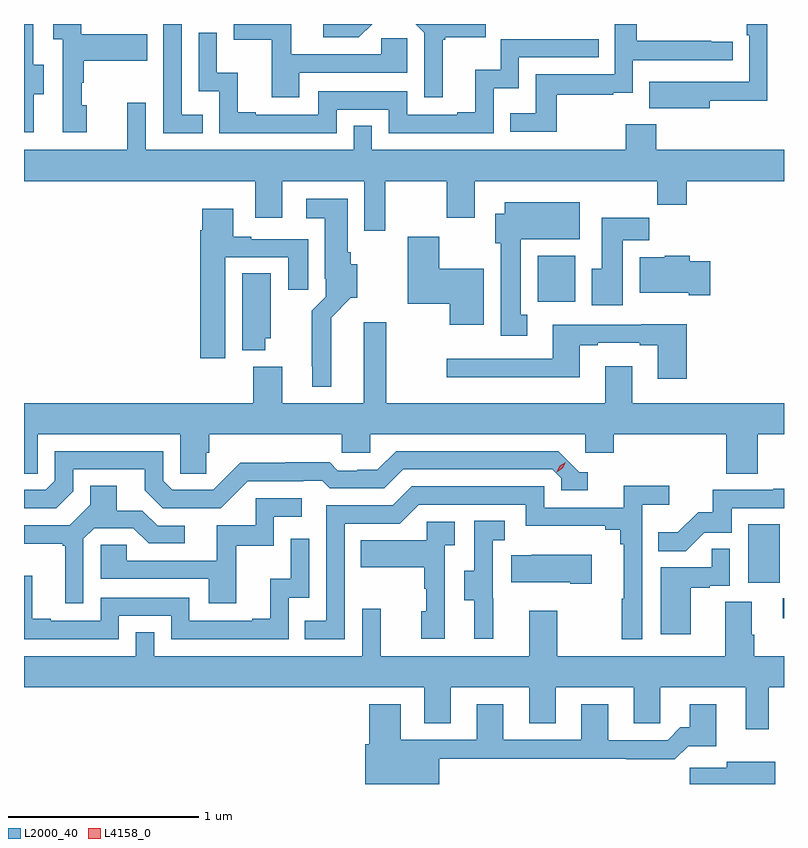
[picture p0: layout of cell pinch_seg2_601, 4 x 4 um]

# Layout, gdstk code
import gdstk
lib = gdstk.Library(unit=1e-6, precision=1e-09)
def R(c, l, rs):  # rectangles x0, y0, x1, y1
    for r in rs: c.add(gdstk.rectangle(r[:2], r[2:], *l))
def P(c, l, *ps):  # polygons
    for p in ps: c.add(gdstk.Polygon(p, *l))
L2000_40 = (2000, 40)
L4158_0 = (4158, 0)

pinch_seg2_601 = lib.new_cell('pinch_seg2_601')
R(pinch_seg2_601, L2000_40, [(1024.017,606.708,1024.023,606.813), (1023.836,606.894,1024,607.201), (1022.726,608.372,1022.923,608.614)])
P(pinch_seg2_601, L2000_40, [(1020.965,609.357),(1020.852,609.357),(1020.852,609.835),(1020.756,609.835),(1020.756,609.261),(1020.965,609.261)],
  [(1022.827,609.462),(1023.125,609.462),(1023.125,609.473),(1023.228,609.473),(1023.228,609.645),(1023.754,609.645),(1023.754,609.741),(1023.641,609.741),(1023.641,609.746),(1023.248,609.746),(1023.248,609.835),(1023.132,609.835),(1023.132,609.57),(1022.716,609.57),(1022.716,609.364),(1022.581,609.364),(1022.581,609.267),(1022.827,609.267)],
  [(1023.631,609.43),(1023.936,609.43),(1023.936,609.835),(1023.827,609.835),(1023.827,609.776),(1023.84,609.776),(1023.84,609.531),(1023.527,609.531),(1023.527,609.532),(1023.313,609.532),(1023.313,609.392),(1023.631,609.392)],
  [(1022.227,609.753),(1022.239,609.753),(1022.239,609.764),(1022.452,609.764),(1022.452,609.835),(1022.084,609.835),(1022.13,609.789),(1022.13,609.45),(1022.227,609.45)],
  [(1021.856,609.835),(1021.599,609.835),(1021.599,609.765),(1021.786,609.765)],
  [(1020.352,609.408),(1020.327,609.408),(1020.327,609.527),(1020.337,609.527),(1020.337,609.641),(1020.671,609.641),(1020.671,609.781),(1020.324,609.781),(1020.324,609.835),(1020.177,609.835),(1020.177,609.755),(1020.228,609.755),(1020.228,609.264),(1020.352,609.264)],
  [(1021.471,609.579),(1022.04,609.579),(1022.04,609.759),(1021.903,609.759),(1021.903,609.675),(1021.429,609.675),(1021.429,609.835),(1021.128,609.835),(1021.128,609.753),(1021.327,609.753),(1021.327,609.45),(1021.471,609.45)],
  [(1020.073,609.466),(1020.127,609.466),(1020.127,609.621),(1020.072,609.621),(1020.072,609.835),(1020.023,609.835),(1020.023,609.264),(1020.073,609.264)],
  [(1021.668,609.384),(1021.944,609.384),(1021.944,609.261),(1022.496,609.261),(1022.496,609.497),(1022.628,609.497),(1022.628,609.66),(1023.047,609.66),(1023.047,609.756),(1022.532,609.756),(1022.532,609.595),(1022.399,609.595),(1022.399,609.37),(1022.303,609.37),(1022.303,609.357),(1022.04,609.357),(1022.04,609.48),(1021.572,609.48),(1021.572,609.357),(1021.243,609.357),(1021.243,609.37),(1021.148,609.37),(1021.148,609.578),(1021.038,609.578),(1021.038,609.79),(1020.942,609.79),(1020.942,609.48),(1021.05,609.48),(1021.05,609.261),(1021.668,609.261)],
  [(1021.924,609.008),(1022.248,609.008),(1022.248,608.814),(1022.395,608.814),(1022.395,609.008),(1023.355,609.008),(1023.355,608.884),(1023.512,608.884),(1023.512,609.008),(1024.023,609.008),(1024.023,609.172),(1023.35,609.172),(1023.35,609.307),(1023.19,609.307),(1023.19,609.172),(1021.854,609.172),(1021.854,609.299),(1021.758,609.299),(1021.758,609.172),(1020.663,609.172),(1020.663,609.421),(1020.566,609.421),(1020.566,609.172),(1020.023,609.172),(1020.023,609.008),(1021.241,609.008),(1021.241,608.814),(1021.381,608.814),(1021.381,609.008),(1021.815,609.008),(1021.815,608.748),(1021.924,608.748)],
  [(1021.639,608.288),(1021.744,608.394),(1021.777,608.394),(1021.777,608.571),(1021.744,608.571),(1021.744,608.634),(1021.726,608.634),(1021.726,608.914),(1021.509,608.914),(1021.509,608.813),(1021.607,608.813),(1021.607,608.494),(1021.611,608.494),(1021.611,608.4),(1021.537,608.326),(1021.537,608.035),(1021.541,608.035),(1021.541,607.925),(1021.639,607.925)],
  [(1022.671,608.306),(1022.638,608.306),(1022.638,608.702),(1022.947,608.702),(1022.947,608.896),(1022.552,608.896),(1022.552,608.836),(1022.504,608.836),(1022.504,608.682),(1022.531,608.682),(1022.531,608.193),(1022.671,608.193)],
  [(1021.081,608.607),(1021.415,608.607),(1021.415,608.436),(1021.519,608.436),(1021.519,608.703),(1021.219,608.703),(1021.219,608.716),(1021.123,608.716),(1021.123,608.863),(1020.962,608.863),(1020.962,608.75),(1020.95,608.75),(1020.95,608.076),(1021.081,608.076)],
  [(1023.175,608.696),(1023.314,608.696),(1023.314,608.814),(1023.065,608.814),(1023.065,608.548),(1023.011,608.548),(1023.011,608.355),(1023.175,608.355)],
  [(1022.443,608.548),(1022.208,608.548),(1022.208,608.716),(1022.042,608.716),(1022.042,608.363),(1022.264,608.363),(1022.264,608.252),(1022.443,608.252)],
  [(1023.634,608.586),(1023.527,608.586),(1023.527,608.614),(1023.396,608.614),(1023.396,608.608),(1023.263,608.608),(1023.263,608.42),(1023.521,608.42),(1023.521,608.408),(1023.634,608.408)],
  [(1021.294,608.181),(1021.321,608.181),(1021.321,608.522),(1021.172,608.522),(1021.172,608.117),(1021.294,608.117)],
  [(1020.096,607.676),(1020.846,607.676),(1020.846,607.468),(1020.983,607.468),(1020.983,607.578),(1020.998,607.578),(1020.998,607.676),(1021.695,607.676),(1021.695,607.578),(1021.845,607.578),(1021.845,607.676),(1022.976,607.676),(1022.976,607.578),(1023.128,607.578),(1023.128,607.676),(1023.719,607.676),(1023.719,607.468),(1023.884,607.468),(1023.884,607.676),(1024.023,607.676),(1024.023,607.84),(1023.223,607.84),(1023.223,608.035),(1023.083,608.035),(1023.083,607.84),(1021.929,607.84),(1021.929,608.266),(1021.811,608.266),(1021.811,607.84),(1021.381,607.84),(1021.381,608.032),(1021.229,608.032),(1021.229,607.84),(1020.023,607.84),(1020.023,607.468),(1020.096,607.468)],
  [(1023.512,608.254),(1023.271,608.254),(1023.271,608.253),(1022.807,608.253),(1022.807,608.073),(1022.247,608.073),(1022.247,607.976),(1022.947,607.976),(1022.947,608.145),(1023.043,608.145),(1023.043,608.157),(1023.263,608.157),(1023.263,608.145),(1023.359,608.145),(1023.359,607.968),(1023.512,607.968)],
  [(1020.282,607.377),(1020.282,607.491),(1020.659,607.491),(1020.659,607.381),(1020.753,607.287),(1021.059,607.287),(1021.2,607.428),(1021.493,607.428),(1021.493,607.431),(1021.592,607.431),(1021.631,607.392),(1021.92,607.392),(1022.019,607.491),(1022.802,607.491),(1022.85,607.443),(1022.85,607.38),(1022.989,607.38),(1022.989,607.476),(1022.946,607.476),(1022.835,607.587),(1021.982,607.587),(1021.883,607.488),(1021.776,607.488),(1021.776,607.485),(1021.673,607.485),(1021.631,607.528),(1021.398,607.528),(1021.398,607.525),(1021.162,607.525),(1021.02,607.383),(1020.804,607.383),(1020.756,607.431),(1020.756,607.587),(1020.186,607.587),(1020.186,607.431),(1020.138,607.383),(1020.023,607.383),(1020.023,607.287),(1020.192,607.287)],
  [(1021.71,607.206),(1022.001,607.206),(1022.1,607.305),(1022.664,607.305),(1022.664,607.193),(1023.083,607.193),(1023.083,607.174),(1023.16,607.174),(1023.16,607.097),(1023.179,607.097),(1023.179,606.809),(1023.168,606.809),(1023.168,606.597),(1023.276,606.597),(1023.276,607.304),(1023.418,607.304),(1023.418,607.406),(1023.179,607.406),(1023.179,607.29),(1022.76,607.29),(1022.76,607.401),(1022.063,607.401),(1021.964,607.302),(1021.614,607.302),(1021.614,606.693),(1021.501,606.693),(1021.501,606.597),(1021.71,606.597)],
  [(1020.336,607.125),(1020.393,607.182),(1020.599,607.182),(1020.68,607.101),(1020.868,607.101),(1020.868,607.194),(1020.726,607.194),(1020.646,607.274),(1020.511,607.274),(1020.511,607.406),(1020.371,607.406),(1020.371,607.304),(1020.264,607.197),(1020.023,607.197),(1020.023,607.1),(1020.228,607.1),(1020.228,607.089),(1020.239,607.089),(1020.239,606.786),(1020.336,606.786)],
  [(1023.603,607.158),(1023.747,607.158),(1023.747,607.287),(1024.023,607.287),(1024.023,607.388),(1023.967,607.388),(1023.967,607.383),(1023.649,607.383),(1023.649,607.266),(1023.572,607.266),(1023.465,607.159),(1023.361,607.159),(1023.361,607.06),(1023.505,607.06)],
  [(1021.139,607.089),(1021.338,607.089),(1021.338,607.242),(1021.486,607.242),(1021.486,607.338),(1021.242,607.338),(1021.242,607.197),(1021.037,607.197),(1021.037,607.011),(1020.563,607.011),(1020.563,607.095),(1020.426,607.095),(1020.426,606.915),(1020.995,606.915),(1020.995,606.786),(1021.139,606.786)],
  [(1022.492,606.813),(1022.49,606.813),(1022.49,607.117),(1022.554,607.117),(1022.554,607.22),(1022.394,607.22),(1022.394,606.957),(1022.339,606.957),(1022.339,606.802),(1022.393,606.802),(1022.393,606.6),(1022.492,606.6)],
  [(1022.238,607.091),(1022.29,607.091),(1022.29,607.215),(1022.142,607.215),(1022.142,607.117),(1021.795,607.117),(1021.795,606.977),(1022.13,606.977),(1022.13,606.863),(1022.14,606.863),(1022.14,606.744),(1022.114,606.744),(1022.114,606.6),(1022.238,606.6)],
  [(1020.522,606.72),(1020.798,606.72),(1020.798,606.597),(1021.416,606.597),(1021.416,606.816),(1021.524,606.816),(1021.524,607.126),(1021.428,607.126),(1021.428,606.914),(1021.319,606.914),(1021.319,606.706),(1021.223,606.706),(1021.223,606.693),(1020.894,606.693),(1020.894,606.816),(1020.426,606.816),(1020.426,606.693),(1020.163,606.693),(1020.163,606.706),(1020.067,606.706),(1020.067,606.931),(1020.023,606.931),(1020.023,606.597),(1020.522,606.597)],
  [(1023.532,606.867),(1023.632,606.867),(1023.632,606.879),(1023.738,606.879),(1023.738,607.073),(1023.643,607.073),(1023.643,606.975),(1023.374,606.975),(1023.374,606.624),(1023.532,606.624)],
  [(1023.01,607.042),(1022.695,607.042),(1022.695,607.039),(1022.587,607.039),(1022.587,606.896),(1022.897,606.896),(1022.897,606.889),(1023.01,606.889)],
  [(1022.681,606.508),(1021.901,606.508),(1021.901,606.757),(1021.803,606.757),(1021.803,606.508),(1020.708,606.508),(1020.708,606.635),(1020.612,606.635),(1020.612,606.508),(1020.023,606.508),(1020.023,606.344),(1022.129,606.344),(1022.129,606.154),(1022.269,606.154),(1022.269,606.344),(1022.681,606.344),(1022.681,606.154),(1022.821,606.154),(1022.821,606.344),(1023.233,606.344),(1023.233,606.154),(1023.372,606.154),(1023.372,606.344),(1023.821,606.344),(1023.821,606.123),(1023.943,606.123),(1023.943,606.344),(1024.023,606.344),(1024.023,606.508),(1023.866,606.508),(1023.866,606.62),(1023.853,606.62),(1023.853,606.794),(1023.713,606.794),(1023.713,606.508),(1022.829,606.508),(1022.829,606.748),(1022.681,606.748)],
  [(1022.209,605.968),(1023.193,605.968),(1023.193,605.966),(1023.449,605.966),(1023.518,606.035),(1023.667,606.035),(1023.667,606.256),(1023.527,606.256),(1023.527,606.133),(1023.478,606.133),(1023.411,606.066),(1023.097,606.066),(1023.097,606.256),(1022.957,606.256),(1022.957,606.069),(1022.545,606.069),(1022.545,606.256),(1022.405,606.256),(1022.405,606.069),(1022.005,606.069),(1022.005,606.256),(1021.841,606.256),(1021.841,606.043),(1021.82,606.043),(1021.82,605.835),(1022.209,605.835)],
  [(1023.976,605.953),(1023.722,605.953),(1023.722,605.921),(1023.528,605.921),(1023.528,605.835),(1023.976,605.835)])
P(pinch_seg2_601, L4158_0, [(1022.827,607.476),(1022.827,607.476),(1022.842,607.509),(1022.873,607.529),(1022.873,607.529),(1022.873,607.529),(1022.858,607.496),(1022.827,607.476)])

lib.write_gds('pinch_seg2_601.gds')
